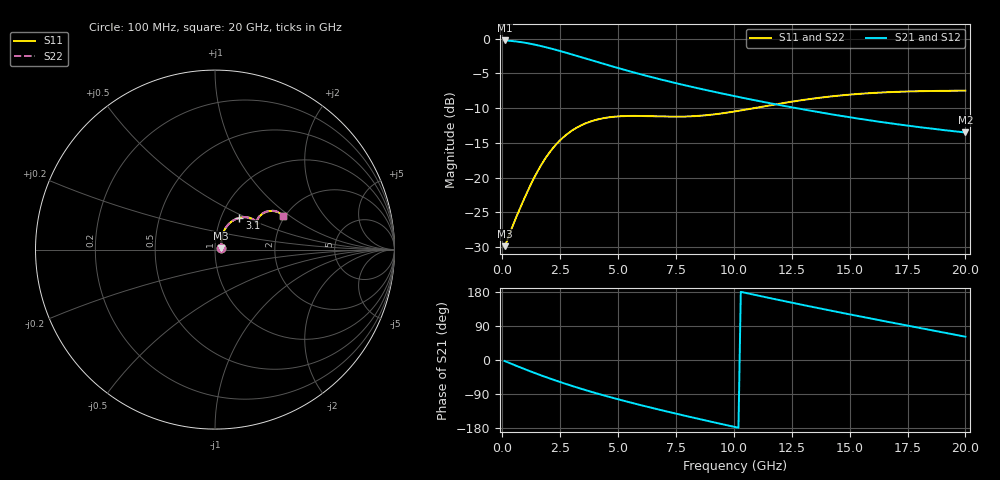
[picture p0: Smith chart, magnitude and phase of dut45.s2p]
! Touchstone file exported from HFSS 2023.1.0
!  File:  D:/Users/fzz/RDL_TSV/temp_RDL_TSV_45_1778745104.aedt
!  Generated:  4:03:41 %x4E0B%x5348  5%x6708 14, 2026
!  Design:  RDL_TSV
!  Project:  temp_RDL_TSV_45_1778745104
!  Setup:  Setup1
!  Solution:  Sweep
! Variables:
!  dtsv = 10.92um
!  hbump = 3um
!  htsv = 73.59um
!  ldown = 635.22um
!  lrdl = 631.22um
!  p = 40
!  p1 = 54.78um
!  rhole = 10um
!  subl = 4430.54um
!  t = 450um
!  tdown = 2.8um
!  trdl = 2.58um
!  viad = 10um
!  wdown = 26.51um
!  wrdl = 15.36um
!  xbump = 18um
# GHz S MA R 50.000000
! Terminal data exported
! Port[1] = TM1_1_T1
! Port[2] = TM1_4_T1
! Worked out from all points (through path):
!   200 points, 100 MHz to 20 GHz, reference 50 ohm
!   highest |S21| = -0.28 dB at 100 MHz (marker M1); lowest = -13.5 dB at 20 GHz (marker M2)
!   group delay of S21, straight-line fit = 39.3 ps
!   lowest |S11| = -29.9 dB at 100 MHz (marker M3), VSWR 1.07, Z = 53.2 + j0.749 ohm
!   |S11| at or under -10 dB: start of sweep to 10.9 GHz
!   |S22| runs from -29.9 to -7.5 dB; largest |S21 - S12| = 1e-14
!   S11 on the Smith chart (normalised r, x): 100 MHz: 1.06, +0.01; 3.1 GHz: 1.22, +0.45; 20 GHz: 1.95, +0.89
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0.1  0.03208 12.7  0.9683 -2.6  0.9683 -2.6  0.03208 12.7
! Gamma 0 0 0 0
! Port Impedance 50 0 50 0
0.4  0.04282 37.3  0.9605 -10.3  0.9605 -10.3  0.04282 37.3
0.8  0.06191 53.6  0.9425 -20.1  0.9425 -20.1  0.06191 53.6
1.2  0.08691 61.9  0.9179 -29.7  0.9179 -29.7  0.08688 61.8
1.6  0.1168 64.2  0.8885 -38.9  0.8885 -38.9  0.1167 64.2
1.9  0.1405 63.5  0.8642 -45.5  0.8642 -45.5  0.1404 63.5
2.3  0.1713 60.7  0.8301 -54.1  0.8301 -54.1  0.1711 60.7
2.7  0.1991 56.9  0.7952 -62.3  0.7952 -62.3  0.1988 56.8
3.1  0.2227 52.7  0.7605 -70.2  0.7605 -70.2  0.2223 52.6
3.5  0.2415 48.5  0.7265 -77.7  0.7265 -77.7  0.2411 48.4
4.3  0.2658 41.1  0.663 -92.0  0.663 -92.0  0.2652 41.1
5.1  0.2759 35.7  0.6066 -105.3  0.6066 -105.3  0.2751 35.7
5.9  0.2773 32.3  0.5573 -117.9  0.5573 -117.9  0.2764 32.3
6.8  0.2749 30.9  0.5096 -131.4  0.5096 -131.4  0.2739 31.0
8.3  0.2764 32.6  0.4444 -152.9  0.4444 -152.9  0.2755 32.8
10.1  0.2999 36.1  0.3829 -177.5  0.3829 -177.5  0.2994 36.4
11.7  0.3338 37.0  0.3389 161.5  0.3389 161.5  0.3338 37.3
13.4  0.3694 35.4  0.3007 140.0  0.3007 140.0  0.3698 35.7
15  0.3948 32.8  0.2714 120.4  0.2714 120.4  0.3956 33.0
16.7  0.4114 29.9  0.2463 100.1  0.2463 100.1  0.4125 30.1
18.3  0.4188 27.8  0.2273 81.4  0.2273 81.4  0.4202 28.0
20  0.4217 26.4  0.2109 61.5  0.2109 61.5  0.4234 26.6
